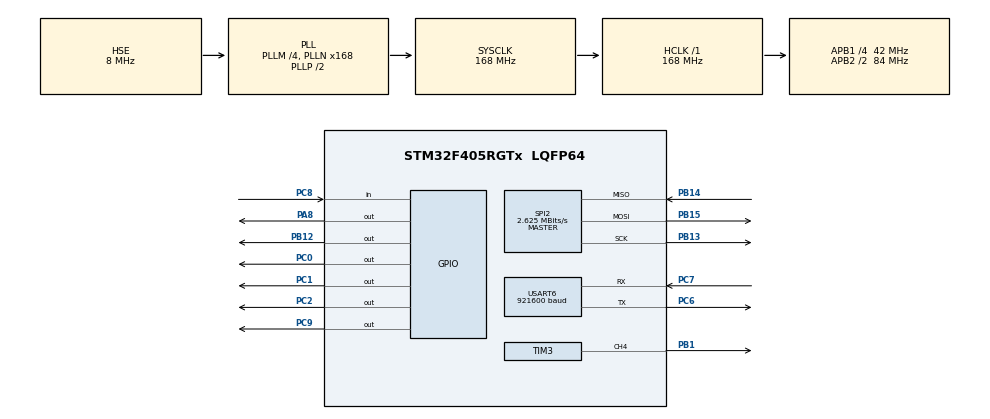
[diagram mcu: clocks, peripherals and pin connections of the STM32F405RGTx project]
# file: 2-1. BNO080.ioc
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Mcu.Family=STM32F4
Mcu.Name=STM32F405RGTx
Mcu.Package=LQFP64
NVIC.PriorityGroup=NVIC_PRIORITYGROUP_4
NVIC.USART6_IRQn=true\:0\:0\:false\:false\:true\:true\:true\:true
PA8.Signal=GPIO_Output
PB1.Signal=S_TIM3_CH4
PB12.Signal=GPIO_Output
PB13.Mode=Full_Duplex_Master
PB13.Signal=SPI2_SCK
PB14.Mode=Full_Duplex_Master
PB14.Signal=SPI2_MISO
PB15.Mode=Full_Duplex_Master
PB15.Signal=SPI2_MOSI
PC0.Signal=GPIO_Output
PC1.Signal=GPIO_Output
PC2.Signal=GPIO_Output
PC6.Mode=Asynchronous
PC6.Signal=USART6_TX
PC7.Mode=Asynchronous
PC7.Signal=USART6_RX
PC8.Signal=GPIO_Input
PC9.Signal=GPIO_Output
PH0-OSC_IN.Mode=HSE-External-Oscillator
PH0-OSC_IN.Signal=RCC_OSC_IN
PH1-OSC_OUT.Mode=HSE-External-Oscillator
PH1-OSC_OUT.Signal=RCC_OSC_OUT
ProjectManager.HeapSize=0x200
ProjectManager.StackSize=0x400
ProjectManager.TargetToolchain=STM32CubeIDE
RCC.48MHZClocksFreq_Value=84000000
RCC.AHBFreq_Value=168000000
RCC.APB1CLKDivider=RCC_HCLK_DIV4
RCC.APB1Freq_Value=42000000
RCC.APB1TimFreq_Value=84000000
RCC.APB2CLKDivider=RCC_HCLK_DIV2
RCC.APB2Freq_Value=84000000
RCC.APB2TimFreq_Value=168000000
RCC.CortexFreq_Value=168000000
RCC.HCLKFreq_Value=168000000
RCC.HSE_VALUE=8000000
RCC.HSI_VALUE=16000000
RCC.LSE_VALUE=32768
RCC.PLLM=4
RCC.PLLN=168
RCC.PLLSourceVirtual=RCC_PLLSOURCE_HSE
RCC.SYSCLKFreq_VALUE=168000000
RCC.SYSCLKSource=RCC_SYSCLKSOURCE_PLLCLK
RCC.VCOOutputFreq_Value=336000000
SH.S_TIM3_CH4.0=TIM3_CH4,PWM Generation4 CH4
SPI2.BaudRatePrescaler=SPI_BAUDRATEPRESCALER_16
SPI2.CLKPhase=SPI_PHASE_2EDGE
SPI2.CLKPolarity=SPI_POLARITY_HIGH
SPI2.CalculateBaudRate=2.625 MBits/s
SPI2.Direction=SPI_DIRECTION_2LINES
SPI2.Mode=SPI_MODE_MASTER
SPI2.VirtualType=VM_MASTER
TIM3.AutoReloadPreload=TIM_AUTORELOAD_PRELOAD_ENABLE
TIM3.Channel-PWM\ Generation4\ CH4=TIM_CHANNEL_4
TIM3.OCFastMode_PWM-PWM\ Generation4\ CH4=TIM_OCFAST_ENABLE
TIM3.Period=20
TIM3.Prescaler=999
TIM3.Pulse-PWM\ Generation4\ CH4=10
USART6.BaudRate=921600
USART6.VirtualMode=VM_ASYNC
VP_TIM3_VS_ClockSourceINT.Mode=Internal
board=custom

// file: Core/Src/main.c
/* USER CODE BEGIN Header */
/**
  ******************************************************************************
  * @file           : main.c
  * @brief          : Main program body
  ******************************************************************************
  * @attention
  *
  * Copyright (c) 2025 STMicroelectronics.
  * All rights reserved.
  *
  * This software is licensed under terms that can be found in the LICENSE file
  * in the root directory of this software component.
  * If no LICENSE file comes with this software, it is provided AS-IS.
  *
  ******************************************************************************
  */
/* USER CODE END Header */
#include "main.h"
#include "spi.h"
#include "tim.h"
#include "usart.h"
#include "gpio.h"

/* USER CODE BEGIN Includes */
#include "BNO080.h"
#include "Quaternion.h"
/* USER CODE END Includes */

/* USER CODE BEGIN PTD */
int _write(int file, char* p, int len)
{
	for(int i=0;i<len;i++)
	{
		LL_USART_TransmitData8(USART6, *(p+i));
		HAL_Delay(1);
	}
}
/* USER CODE END PTD */

/* USER CODE BEGIN PV */
extern uint8_t uart6_rx_flag;
extern uint8_t uart6_rx_data;
/* USER CODE END PV */

void SystemClock_Config(void);

int main(void)
{

  /* USER CODE BEGIN 1 */
	//쿼터니언 값 저장 배열: w,i,j,k
	float q[4];
	//측정 정확도 변수
	float quatRadianAccuracy;
  /* USER CODE END 1 */

  /* MCU Configuration--------------------------------------------------------*/

  /* Reset of all peripherals, Initializes the Flash interface and the Systick. */
  HAL_Init();

  /* Configure the system clock */
  SystemClock_Config();

  /* Initialize all configured peripherals */
  MX_GPIO_Init();
  MX_TIM3_Init();
  MX_USART6_UART_Init();

  //SPI 초기화
  MX_SPI2_Init();
  /* USER CODE BEGIN 2 */

  // 타이머로 PWM신호 만들어서 패시브 부저 출력하기
  LL_TIM_EnableCounter(TIM3);
  LL_TIM_CC_EnableChannel(TIM3, LL_TIM_CHANNEL_CH4);

  TIM3->PSC = 2000;
  HAL_Delay(100);
  TIM3->PSC = 1500;
  HAL_Delay(100);
  TIM3->PSC = 1000;
  HAL_Delay(100);

  LL_TIM_CC_DisableChannel(TIM3, LL_TIM_CHANNEL_CH4);

  // 수신 완료 인터럽트
  LL_USART_EnableIT_RXNE(USART6);

  //SPI2 초기화, 센서 내부 초기화
  BNO080_Initialization();
  //400Hz이므로 2500마이크로초로 초기화
  BNO080_enableRotationVector(2500);

  /* USER CODE END 2 */

  /* Infinite loop */
  while (1)
  {

    /* USER CODE BEGIN 3 */

	//2.5ms마다 새로운 데이터 준비
	if(BNO080_dataAvailable() == 1)
	{
		q[0] = BNO080_getQuatI();
		q[1] = BNO080_getQuatJ();
		q[2] = BNO080_getQuatK();
		q[3] = BNO080_getQuatReal();
		quatRadianAccuracy = BNO080_getQuatRadianAccuracy();

		//쿼터니언 값을 각도로 변환
		Quaternion_Update(&q[0]);
		//각도 출력
		printf("%d,%d,%d\n",(int)(BNO080_Roll*100), (int)(BNO080_Pitch*100), (int)(BNO080_Yaw*100));
	}
  }
  /* USER CODE END 3 */
}

void SystemClock_Config(void)
{
  RCC_OscInitTypeDef RCC_OscInitStruct = {0};
  RCC_ClkInitTypeDef RCC_ClkInitStruct = {0};

  /** Configure the main internal regulator output voltage
  */
  __HAL_RCC_PWR_CLK_ENABLE();
  __HAL_PWR_VOLTAGESCALING_CONFIG(PWR_REGULATOR_VOLTAGE_SCALE1);

  /** Initializes the RCC Oscillators according to the specified parameters
  * in the RCC_OscInitTypeDef structure.
  */
  RCC_OscInitStruct.OscillatorType = RCC_OSCILLATORTYPE_HSE;
  RCC_OscInitStruct.HSEState = RCC_HSE_ON;
  RCC_OscInitStruct.PLL.PLLState = RCC_PLL_ON;
  RCC_OscInitStruct.PLL.PLLSource = RCC_PLLSOURCE_HSE;
  RCC_OscInitStruct.PLL.PLLM = 4;
  RCC_OscInitStruct.PLL.PLLN = 168;
  RCC_OscInitStruct.PLL.PLLP = RCC_PLLP_DIV2;
  RCC_OscInitStruct.PLL.PLLQ = 4;
  if (HAL_RCC_OscConfig(&RCC_OscInitStruct) != HAL_OK)
  {
    Error_Handler();
  }

  /** Initializes the CPU, AHB and APB buses clocks
  */
  RCC_ClkInitStruct.ClockType = RCC_CLOCKTYPE_HCLK|RCC_CLOCKTYPE_SYSCLK
                              |RCC_CLOCKTYPE_PCLK1|RCC_CLOCKTYPE_PCLK2;
  RCC_ClkInitStruct.SYSCLKSource = RCC_SYSCLKSOURCE_PLLCLK;
  RCC_ClkInitStruct.AHBCLKDivider = RCC_SYSCLK_DIV1;
  RCC_ClkInitStruct.APB1CLKDivider = RCC_HCLK_DIV4;
  RCC_ClkInitStruct.APB2CLKDivider = RCC_HCLK_DIV2;

  if (HAL_RCC_ClockConfig(&RCC_ClkInitStruct, FLASH_LATENCY_5) != HAL_OK)
  {
    Error_Handler();
  }
}

void Error_Handler(void)
{
  __disable_irq();
  while (1)
  {
  }
}
